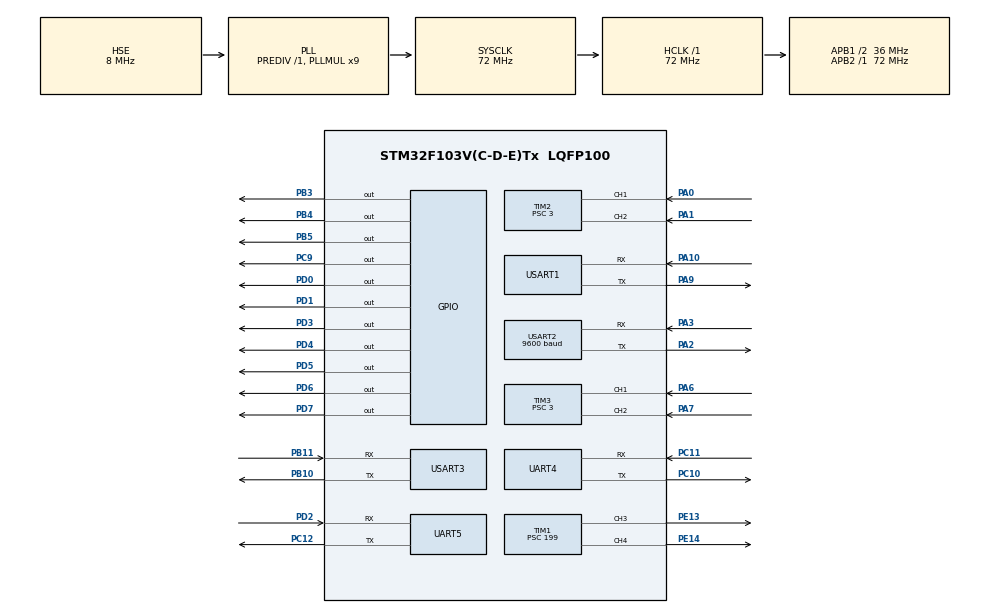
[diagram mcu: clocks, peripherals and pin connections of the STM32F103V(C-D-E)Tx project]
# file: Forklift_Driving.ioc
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Dma.Request0=USART1_RX
Dma.Request1=USART1_TX
Dma.Request2=USART2_RX
Dma.Request3=USART2_TX
Dma.Request4=USART3_RX
Dma.Request5=USART3_TX
Dma.Request6=UART4_RX
Dma.Request7=UART4_TX
Dma.UART4_RX.6.Direction=DMA_PERIPH_TO_MEMORY
Dma.UART4_RX.6.Instance=DMA2_Channel3
Dma.UART4_RX.6.MemDataAlignment=DMA_MDATAALIGN_BYTE
Dma.UART4_RX.6.MemInc=DMA_MINC_ENABLE
Dma.UART4_RX.6.Mode=DMA_CIRCULAR
Dma.UART4_RX.6.PeriphDataAlignment=DMA_PDATAALIGN_BYTE
Dma.UART4_RX.6.PeriphInc=DMA_PINC_DISABLE
Dma.UART4_RX.6.Priority=DMA_PRIORITY_MEDIUM
Dma.UART4_TX.7.Direction=DMA_MEMORY_TO_PERIPH
Dma.UART4_TX.7.Instance=DMA2_Channel5
Dma.UART4_TX.7.MemDataAlignment=DMA_MDATAALIGN_BYTE
Dma.UART4_TX.7.MemInc=DMA_MINC_ENABLE
Dma.UART4_TX.7.Mode=DMA_NORMAL
Dma.UART4_TX.7.PeriphDataAlignment=DMA_PDATAALIGN_BYTE
Dma.UART4_TX.7.PeriphInc=DMA_PINC_DISABLE
Dma.UART4_TX.7.Priority=DMA_PRIORITY_LOW
Dma.USART1_RX.0.Direction=DMA_PERIPH_TO_MEMORY
Dma.USART1_RX.0.Instance=DMA1_Channel5
Dma.USART1_RX.0.MemDataAlignment=DMA_MDATAALIGN_BYTE
Dma.USART1_RX.0.MemInc=DMA_MINC_ENABLE
Dma.USART1_RX.0.Mode=DMA_CIRCULAR
Dma.USART1_RX.0.PeriphDataAlignment=DMA_PDATAALIGN_BYTE
Dma.USART1_RX.0.PeriphInc=DMA_PINC_DISABLE
Dma.USART1_RX.0.Priority=DMA_PRIORITY_VERY_HIGH
Dma.USART1_TX.1.Direction=DMA_MEMORY_TO_PERIPH
Dma.USART1_TX.1.Instance=DMA1_Channel4
Dma.USART1_TX.1.MemDataAlignment=DMA_MDATAALIGN_BYTE
Dma.USART1_TX.1.MemInc=DMA_MINC_ENABLE
Dma.USART1_TX.1.Mode=DMA_NORMAL
Dma.USART1_TX.1.PeriphDataAlignment=DMA_PDATAALIGN_BYTE
Dma.USART1_TX.1.PeriphInc=DMA_PINC_DISABLE
Dma.USART1_TX.1.Priority=DMA_PRIORITY_LOW
Dma.USART2_RX.2.Direction=DMA_PERIPH_TO_MEMORY
Dma.USART2_RX.2.Instance=DMA1_Channel6
Dma.USART2_RX.2.MemDataAlignment=DMA_MDATAALIGN_BYTE
Dma.USART2_RX.2.MemInc=DMA_MINC_ENABLE
Dma.USART2_RX.2.Mode=DMA_CIRCULAR
Dma.USART2_RX.2.PeriphDataAlignment=DMA_PDATAALIGN_BYTE
Dma.USART2_RX.2.PeriphInc=DMA_PINC_DISABLE
Dma.USART2_RX.2.Priority=DMA_PRIORITY_HIGH
Dma.USART2_TX.3.Direction=DMA_MEMORY_TO_PERIPH
Dma.USART2_TX.3.Instance=DMA1_Channel7
Dma.USART2_TX.3.MemDataAlignment=DMA_MDATAALIGN_BYTE
Dma.USART2_TX.3.MemInc=DMA_MINC_ENABLE
Dma.USART2_TX.3.Mode=DMA_NORMAL
Dma.USART2_TX.3.PeriphDataAlignment=DMA_PDATAALIGN_BYTE
Dma.USART2_TX.3.PeriphInc=DMA_PINC_DISABLE
Dma.USART2_TX.3.Priority=DMA_PRIORITY_LOW
Dma.USART3_RX.4.Direction=DMA_PERIPH_TO_MEMORY
Dma.USART3_RX.4.Instance=DMA1_Channel3
Dma.USART3_RX.4.MemDataAlignment=DMA_MDATAALIGN_BYTE
Dma.USART3_RX.4.MemInc=DMA_MINC_ENABLE
Dma.USART3_RX.4.Mode=DMA_CIRCULAR
Dma.USART3_RX.4.PeriphDataAlignment=DMA_PDATAALIGN_BYTE
Dma.USART3_RX.4.PeriphInc=DMA_PINC_DISABLE
Dma.USART3_RX.4.Priority=DMA_PRIORITY_MEDIUM
Dma.USART3_TX.5.Direction=DMA_MEMORY_TO_PERIPH
Dma.USART3_TX.5.Instance=DMA1_Channel2
Dma.USART3_TX.5.MemDataAlignment=DMA_MDATAALIGN_BYTE
Dma.USART3_TX.5.MemInc=DMA_MINC_ENABLE
Dma.USART3_TX.5.Mode=DMA_NORMAL
Dma.USART3_TX.5.PeriphDataAlignment=DMA_PDATAALIGN_BYTE
Dma.USART3_TX.5.PeriphInc=DMA_PINC_DISABLE
Dma.USART3_TX.5.Priority=DMA_PRIORITY_LOW
Mcu.Family=STM32F1
Mcu.Name=STM32F103V(C-D-E)Tx
Mcu.Package=LQFP100
NVIC.DMA1_Channel2_IRQn=true\:0\:0\:false\:false\:true\:false\:true
NVIC.DMA1_Channel3_IRQn=true\:0\:0\:false\:false\:true\:false\:true
NVIC.DMA1_Channel4_IRQn=true\:0\:0\:false\:false\:true\:false\:true
NVIC.DMA1_Channel5_IRQn=true\:0\:0\:false\:false\:true\:false\:true
NVIC.DMA1_Channel6_IRQn=true\:0\:0\:false\:false\:true\:false\:true
NVIC.DMA1_Channel7_IRQn=true\:0\:0\:false\:false\:true\:false\:true
NVIC.DMA2_Channel3_IRQn=true\:0\:0\:false\:false\:true\:false\:true
NVIC.DMA2_Channel4_5_IRQn=true\:0\:0\:false\:false\:true\:false\:true
NVIC.PriorityGroup=NVIC_PRIORITYGROUP_4
NVIC.TIM2_IRQn=true\:0\:0\:false\:false\:true\:true\:true
NVIC.TIM3_IRQn=true\:0\:0\:false\:false\:true\:true\:true
NVIC.TIM4_IRQn=true\:0\:0\:false\:false\:true\:true\:true
NVIC.UART4_IRQn=true\:3\:0\:true\:false\:true\:true\:true
NVIC.UART5_IRQn=true\:4\:0\:true\:false\:true\:true\:true
NVIC.USART1_IRQn=true\:0\:0\:false\:false\:true\:true\:true
NVIC.USART2_IRQn=true\:1\:0\:true\:false\:true\:true\:true
NVIC.USART3_IRQn=true\:2\:0\:true\:false\:true\:true\:true
OSC_IN.Mode=HSE-External-Oscillator
OSC_IN.Signal=RCC_OSC_IN
OSC_OUT.Mode=HSE-External-Oscillator
OSC_OUT.Signal=RCC_OSC_OUT
PA0-WKUP.Signal=S_TIM2_CH1_ETR
PA1.Signal=S_TIM2_CH2
PA10.Mode=Asynchronous
PA10.Signal=USART1_RX
PA13.Mode=Serial_Wire
PA13.Signal=SYS_JTMS-SWDIO
PA14.Mode=Serial_Wire
PA14.Signal=SYS_JTCK-SWCLK
PA2.Mode=Asynchronous
PA2.Signal=USART2_TX
PA3.Mode=Asynchronous
PA3.Signal=USART2_RX
PA6.Signal=S_TIM3_CH1
PA7.Signal=S_TIM3_CH2
PA9.Mode=Asynchronous
PA9.Signal=USART1_TX
PB10.Mode=Asynchronous
PB10.Signal=USART3_TX
PB11.Mode=Asynchronous
PB11.Signal=USART3_RX
PB3.GPIO_ModeDefaultOutputPP=GPIO_MODE_OUTPUT_OD
PB3.GPIO_PuPd=GPIO_NOPULL
PB3.GPIO_Speed=GPIO_SPEED_FREQ_MEDIUM
PB3.PinState=GPIO_PIN_RESET
PB3.Signal=GPIO_Output
PB4.GPIO_ModeDefaultOutputPP=GPIO_MODE_OUTPUT_OD
PB4.GPIO_PuPd=GPIO_NOPULL
PB4.GPIO_Speed=GPIO_SPEED_FREQ_MEDIUM
PB4.PinState=GPIO_PIN_RESET
PB4.Signal=GPIO_Output
PB5.GPIO_ModeDefaultOutputPP=GPIO_MODE_OUTPUT_OD
PB5.GPIO_PuPd=GPIO_NOPULL
PB5.GPIO_Speed=GPIO_SPEED_FREQ_MEDIUM
PB5.PinState=GPIO_PIN_RESET
PB5.Signal=GPIO_Output
PC10.Mode=Asynchronous
PC10.Signal=UART4_TX
PC11.GPIO_PuPd=GPIO_PULLUP
PC11.Mode=Asynchronous
PC11.Signal=UART4_RX
PC12.Mode=Asynchronous
PC12.Signal=UART5_TX
PC14-OSC32_IN.Mode=LSE-External-Oscillator
PC14-OSC32_IN.Signal=RCC_OSC32_IN
PC15-OSC32_OUT.Mode=LSE-External-Oscillator
PC15-OSC32_OUT.Signal=RCC_OSC32_OUT
PC9.GPIO_ModeDefaultOutputPP=GPIO_MODE_OUTPUT_PP
PC9.GPIO_PuPd=GPIO_PULLDOWN
PC9.GPIO_Speed=GPIO_SPEED_FREQ_MEDIUM
PC9.PinState=GPIO_PIN_RESET
PC9.Signal=GPIO_Output
PD0.GPIO_ModeDefaultOutputPP=GPIO_MODE_OUTPUT_OD
PD0.GPIO_PuPd=GPIO_NOPULL
PD0.GPIO_Speed=GPIO_SPEED_FREQ_MEDIUM
PD0.PinState=GPIO_PIN_RESET
PD0.Signal=GPIO_Output
PD1.GPIO_ModeDefaultOutputPP=GPIO_MODE_OUTPUT_OD
PD1.GPIO_PuPd=GPIO_NOPULL
PD1.GPIO_Speed=GPIO_SPEED_FREQ_MEDIUM
PD1.PinState=GPIO_PIN_RESET
PD1.Signal=GPIO_Output
PD2.Mode=Asynchronous
PD2.Signal=UART5_RX
PD3.GPIO_ModeDefaultOutputPP=GPIO_MODE_OUTPUT_OD
PD3.GPIO_PuPd=GPIO_NOPULL
PD3.GPIO_Speed=GPIO_SPEED_FREQ_MEDIUM
PD3.PinState=GPIO_PIN_RESET
PD3.Signal=GPIO_Output
PD4.GPIO_ModeDefaultOutputPP=GPIO_MODE_OUTPUT_OD
PD4.GPIO_PuPd=GPIO_NOPULL
PD4.GPIO_Speed=GPIO_SPEED_FREQ_MEDIUM
PD4.PinState=GPIO_PIN_RESET
PD4.Signal=GPIO_Output
PD5.GPIO_ModeDefaultOutputPP=GPIO_MODE_OUTPUT_OD
PD5.GPIO_PuPd=GPIO_NOPULL
PD5.GPIO_Speed=GPIO_SPEED_FREQ_MEDIUM
PD5.PinState=GPIO_PIN_RESET
PD5.Signal=GPIO_Output
PD6.GPIO_ModeDefaultOutputPP=GPIO_MODE_OUTPUT_OD
PD6.GPIO_PuPd=GPIO_NOPULL
PD6.GPIO_Speed=GPIO_SPEED_FREQ_MEDIUM
PD6.PinState=GPIO_PIN_RESET
PD6.Signal=GPIO_Output
PD7.GPIO_ModeDefaultOutputPP=GPIO_MODE_OUTPUT_OD
PD7.GPIO_PuPd=GPIO_NOPULL
PD7.GPIO_Speed=GPIO_SPEED_FREQ_MEDIUM
PD7.PinState=GPIO_PIN_RESET
PD7.Signal=GPIO_Output
PE13.Signal=S_TIM1_CH3
PE14.Signal=S_TIM1_CH4
ProjectManager.HeapSize=0x200
ProjectManager.StackSize=0x400
ProjectManager.TargetToolchain=MDK-ARM V5
RCC.AHBFreq_Value=72000000
RCC.APB1CLKDivider=RCC_HCLK_DIV2
RCC.APB1Freq_Value=36000000
RCC.APB1TimFreq_Value=72000000
RCC.APB2Freq_Value=72000000
RCC.APB2TimFreq_Value=72000000
RCC.HCLKFreq_Value=72000000
RCC.PLLMUL=RCC_PLL_MUL9
RCC.PLLSourceVirtual=RCC_PLLSOURCE_HSE
RCC.SYSCLKFreq_VALUE=72000000
RCC.SYSCLKSource=RCC_SYSCLKSOURCE_PLLCLK
RCC.USBFreq_Value=72000000
SH.S_TIM1_CH3.0=TIM1_CH3,PWM Generation3 CH3
SH.S_TIM1_CH4.0=TIM1_CH4,PWM Generation4 CH4
SH.S_TIM2_CH1_ETR.0=TIM2_CH1,Encoder_Interface
SH.S_TIM2_CH2.0=TIM2_CH2,Encoder_Interface
SH.S_TIM3_CH1.0=TIM3_CH1,Encoder_Interface
SH.S_TIM3_CH2.0=TIM3_CH2,Encoder_Interface
TIM1.AutoReloadPreload=TIM_AUTORELOAD_PRELOAD_ENABLE
TIM1.Channel-PWM\ Generation3\ CH3=TIM_CHANNEL_3
TIM1.Channel-PWM\ Generation4\ CH4=TIM_CHANNEL_4
TIM1.OCIdleState_3=TIM_OCIDLESTATE_SET
TIM1.OCIdleState_4=TIM_OCIDLESTATE_SET
TIM1.Period=7199
TIM1.Prescaler=199
TIM1.Pulse-PWM\ Generation3\ CH3=500
TIM1.Pulse-PWM\ Generation4\ CH4=500
TIM2.EncoderMode=TIM_ENCODERMODE_TI12
TIM2.IC1Filter=15
TIM2.IC2Filter=15
TIM2.Prescaler=3
TIM3.EncoderMode=TIM_ENCODERMODE_TI12
TIM3.IC1Filter=15
TIM3.IC2Filter=15
TIM3.Prescaler=3
TIM4.Period=1999
TIM4.Prescaler=8399
UART4.VirtualMode=Asynchronous
UART5.VirtualMode=Asynchronous
USART1.VirtualMode=VM_ASYNC
USART2.BaudRate=9600
USART2.VirtualMode=VM_ASYNC
USART3.VirtualMode=VM_ASYNC
VP_TIM1_VS_ClockSourceINT.Mode=Internal
VP_TIM4_VS_ClockSourceINT.Mode=Internal
board=custom

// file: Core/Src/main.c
/* USER CODE BEGIN Header */
/**
  ******************************************************************************
  * @file           : main.c
  * @brief          : Main program body
  ******************************************************************************
  * @attention
  *
  * <h2><center>&copy; Copyright (c) 2021 STMicroelectronics.
  * All rights reserved.</center></h2>
  *
  * This software component is licensed by ST under BSD 3-Clause license,
  * the "License"; You may not use this file except in compliance with the
  * License. You may obtain a copy of the License at:
  *                        opensource.org/licenses/BSD-3-Clause
  *
  ******************************************************************************
  */
/* USER CODE END Header */
#include "main.h"
#include "dma.h"
#include "tim.h"
#include "usart.h"
#include "gpio.h"

/* USER CODE BEGIN Includes */
#include "myiic.h"
#include "stdio.h"
#include "string.h"
#include "control.h"
/* USER CODE END Includes */

/* USER CODE BEGIN PTD */

//extern   uint8_t  USART1_RX_Buff[20];
//extern   uint8_t  USART2_RX_Buff[20];
//extern   uint8_t  USART3_RX_Buff[20];
//extern   uint8_t  USART4_RX_Buff[20];
//extern   uint8_t  USART5_RX_Buff[20];

extern   uint8_t  Distance_M1_Buff[20];                //定义Rx接收数组
extern   uint8_t  Distance_M2_Buff[20];
extern   uint8_t  Distance_Ultrasound_Buff[20];
extern   uint8_t  Order_Buff[20];
extern   uint8_t  Order2_Buff[20];
         uint8_t  SensorData[20]="0";
extern   UART_HandleTypeDef huart1;
uint8_t  Remote_Flag=0;

//extern   uint32_t  SetPWM,SetDAC;

/* USER CODE END PTD */

void SystemClock_Config(void);

/* USER CODE BEGIN 0 */
volatile  uint16_t Period = 999;
/* USER CODE END 0 */

int main(void)
{
  /* USER CODE BEGIN 1 */
 // 发送测试字符串
  SensorData[0]='D';
	SensorData[1]='A';
	SensorData[2]='T';
	SensorData[3]='A';
	SensorData[18]=0x0D;
	SensorData[19]=0x0A;
  /* USER CODE END 1 */

  /* MCU Configuration--------------------------------------------------------*/

  /* Reset of all peripherals, Initializes the Flash interface and the Systick. */
  HAL_Init();

  /* Configure the system clock */
  SystemClock_Config();
  /* USER CODE BEGIN SysInit */
	uint32_t num=0;
	uint32_t num_old=0;
//	float PWM_out;
	extern uint8_t flag;
  /* USER CODE END SysInit */
  /* Initialize all configured peripherals */
  MX_GPIO_Init();
  MX_DMA_Init();
  MX_USART1_UART_Init();
  MX_USART2_UART_Init();
  MX_USART3_UART_Init();
  MX_UART4_Init();
  MX_UART5_Init();
  MX_TIM1_Init();
  MX_TIM2_Init();
  MX_TIM3_Init();
  MX_TIM4_Init();
  /* USER CODE BEGIN 2 */
  IIC_Init();
	//IIC初始化
  CLOSE_RELAY1;CLOSE_RELAY2; CLOSE_RELAY3; CLOSE_RELAY4; CLOSE_RELAY5;
  CLOSE_RELAY6;CLOSE_RELAY7;CLOSE_RELAY8;
	 HAL_TIM_Encoder_Start(&htim2, TIM_CHANNEL_ALL);

	HAL_GPIO_WritePin(GPIOC,GPIO_PIN_9,GPIO_PIN_RESET);
  /* USER CODE END 2 */

	HAL_Delay(500);
//	Set_OutVol_Fast(0,0.001);
	HAL_TIM_PWM_Start(&htim1,TIM_CHANNEL_3);
	HAL_TIM_PWM_Start(&htim1,TIM_CHANNEL_4);
	HAL_Delay(10);
//	__HAL_TIM_SET_COMPARE(&htim1, TIM_CHANNEL_3,750);
//	__HAL_TIM_SET_COMPARE(&htim1, TIM_CHANNEL_4,750);
	HAL_Delay(500);

  /* Infinite loop */
  /* USER CODE BEGIN WHILE */
//	Set_OutVol_Fast(0,5);
  while (1)
  {
			if(flag==0)
			{
					num_old= (uint32_t)(__HAL_TIM_GET_COUNTER(&htim2));//获取定时器的值
			}
		  if(flag==1)
			{
					num= (uint32_t)(__HAL_TIM_GET_COUNTER(&htim2));//获取定时器的值
				  num=num-num_old;
				  SensorData[14]=num & 0xff000000;
				  SensorData[15]=num & 0x00ff0000;
				  SensorData[16]=num & 0x0000ff00;
				  SensorData[17]=num & 0x000000ff;
			}
			 SensorData[4]=Distance_Ultrasound_Buff[1];
			 SensorData[5]=Distance_Ultrasound_Buff[2];

			 SensorData[6]=Distance_M1_Buff[9];
			 SensorData[7]=Distance_M1_Buff[10];
			 SensorData[8]=Distance_M1_Buff[11];
			 SensorData[9]=Distance_M1_Buff[12];

			 SensorData[10]=Distance_M2_Buff[9];
			 SensorData[11]=Distance_M2_Buff[10];
			 SensorData[12]=Distance_M2_Buff[11];
			 SensorData[13]=Distance_M2_Buff[12];

			 HAL_UART_Transmit_DMA(&huart1,SensorData,20);

			 if(Remote_Flag==1)
				 {
						Order_Juge(Order2_Buff);}
			  else
					{
					  Order_Juge(Order_Buff); }

			 HAL_GPIO_TogglePin(GPIOB,GPIO_PIN_5);

			 HAL_Delay(200);

    /* USER CODE END WHILE */

  }
}

void SystemClock_Config(void)
{
  RCC_OscInitTypeDef RCC_OscInitStruct = {0};
  RCC_ClkInitTypeDef RCC_ClkInitStruct = {0};

  /** Initializes the RCC Oscillators according to the specified parameters
  * in the RCC_OscInitTypeDef structure.
  */
  RCC_OscInitStruct.OscillatorType = RCC_OSCILLATORTYPE_HSE;
  RCC_OscInitStruct.HSEState = RCC_HSE_ON;
  RCC_OscInitStruct.HSEPredivValue = RCC_HSE_PREDIV_DIV1;
  RCC_OscInitStruct.HSIState = RCC_HSI_ON;
  RCC_OscInitStruct.PLL.PLLState = RCC_PLL_ON;
  RCC_OscInitStruct.PLL.PLLSource = RCC_PLLSOURCE_HSE;
  RCC_OscInitStruct.PLL.PLLMUL = RCC_PLL_MUL9;
  if (HAL_RCC_OscConfig(&RCC_OscInitStruct) != HAL_OK)
  {
    Error_Handler();
  }
  /** Initializes the CPU, AHB and APB buses clocks
  */
  RCC_ClkInitStruct.ClockType = RCC_CLOCKTYPE_HCLK|RCC_CLOCKTYPE_SYSCLK
                              |RCC_CLOCKTYPE_PCLK1|RCC_CLOCKTYPE_PCLK2;
  RCC_ClkInitStruct.SYSCLKSource = RCC_SYSCLKSOURCE_PLLCLK;
  RCC_ClkInitStruct.AHBCLKDivider = RCC_SYSCLK_DIV1;
  RCC_ClkInitStruct.APB1CLKDivider = RCC_HCLK_DIV2;
  RCC_ClkInitStruct.APB2CLKDivider = RCC_HCLK_DIV1;

  if (HAL_RCC_ClockConfig(&RCC_ClkInitStruct, FLASH_LATENCY_2) != HAL_OK)
  {
    Error_Handler();
  }
}

void Error_Handler(void)
{
  __disable_irq();
  while (1)
  {
  }
}

/************************ (C) COPYRIGHT STMicroelectronics *****END OF FILE****/
